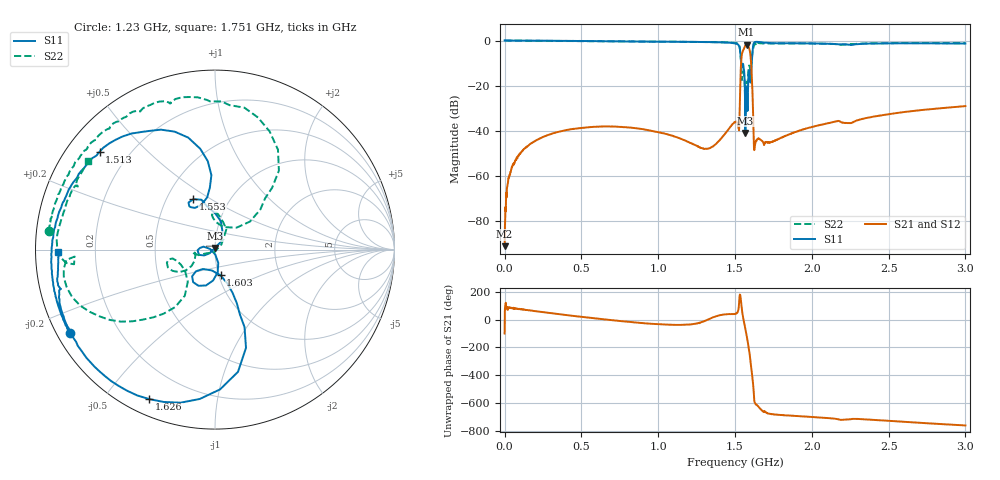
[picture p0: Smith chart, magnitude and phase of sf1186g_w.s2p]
# Hz S RI R 50
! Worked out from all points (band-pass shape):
!   1601 points, 300 kHz to 3 GHz, reference 50 ohm
!   highest |S21| = -1.82 dB at 1.575 GHz (marker M1); lowest = -90.9 dB at 300 kHz (marker M2)
!   |S21| within 3 dB of the highest: 1.55 GHz to 1.597 GHz (47.17 MHz wide, 3 % of centre)
!   lowest |S11| = -40.9 dB at 1.568 GHz (marker M3), VSWR 1.02, Z = 49.9 + j0.896 ohm
!   |S11| at or under -10 dB: 1.541 GHz to 1.609 GHz (68.16 MHz wide, 4.33 % of centre)
!   |S22| runs from -36.4 to 0.0 dB; largest |S21 - S12| = 0.0022
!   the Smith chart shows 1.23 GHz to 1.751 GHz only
!   S11 on the Smith chart (normalised r, x): 1.23 GHz: 0.04, -0.27; 1.513 GHz: 0.10, +0.36; 1.553 GHz: 0.68, +0.42; 1.603 GHz: 1.02, -0.30; 1.626 GHz: 0.07, -0.65; 1.751 GHz: 0.07, -0.01
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300000  1.004 0.00031  -5.32e-06 -2.8e-05  -1.43e-05 5.41e-06  1.002 -0.000638
3.779625e7  0.994 -0.0834  0.000172 0.00123  0.000183 0.00121  0.9902 -0.1182
1.109139e8  0.967 -0.2382  0.000968 0.00335  0.000965 0.00336  0.935 -0.3365
5.008749e8  0.4543 -0.864  0.011 0.00382  0.011 0.00385  0.0751 -0.9668
1.00145e9  -0.5033 -0.7977  0.00782 -0.00519  0.00783 -0.00523  -0.8657 -0.3743
1.230177e9  -0.8088 -0.465  0.00429 -0.0027  0.00428 -0.00269  -0.9246 0.1011
1.344541e9  -0.8969 -0.2199  0.00431 0.000725  0.0043 0.000741  -0.8515 0.3548
1.50015e9  -0.7593 0.4211  0.0122 0.0102  0.0121 0.0102  -0.3604 0.8059
1.513274e9  -0.6434 0.5449  0.0104 0.011  0.0104 0.0111  -0.1817 0.849
1.530147e9  -0.2256 0.6575  -0.0229 0.00359  -0.0229 0.00351  0.3043 0.6586
1.552645e9  -0.1211 0.2809  0.5837 0.1689  0.5833 0.1692  -0.00838 0.2059
1.567643e9  -0.000845 0.00898  0.3147 -0.7215  0.314 -0.7209  -0.00347 -0.0148
1.575142e9  -0.0973 -0.00381  -0.2952 -0.7554  -0.297 -0.7564  -0.1184 -0.0203
1.586391e9  0.0151 -0.1266  -0.7561 0.0317  -0.7573 0.0335  -0.1618 -0.1155
1.603265e9  0.0307 -0.1436  0.3027 0.2357  0.3028 0.2361  -0.1673 -0.1166
1.625762e9  -0.3657 -0.833  -0.00276 0.00257  -0.00274 0.00256  -0.7504 -0.3126
1.637011e9  -0.644 -0.6779  -0.00178 0.00589  -0.0018 0.00589  -0.7821 -0.0388
1.659509e9  -0.8248 -0.4238  0.00068 0.00665  0.000711 0.00669  -0.8562 0.1693
1.751375e9  -0.872 -0.0114  0.00474 0.00358  0.00471 0.00359  -0.7056 0.4916
2.000725e9  -0.7448 0.4341  0.0117 0.00396  0.0117 0.00395  -0.3741 0.773
2.5013e9  -0.2713 0.8237  0.0233 -0.00362  0.0233 -0.00357  0.1974 0.8504
3e9  0.3191 0.7978  0.0263 -0.0239  0.0262 -0.0239  0.6636 0.5661
